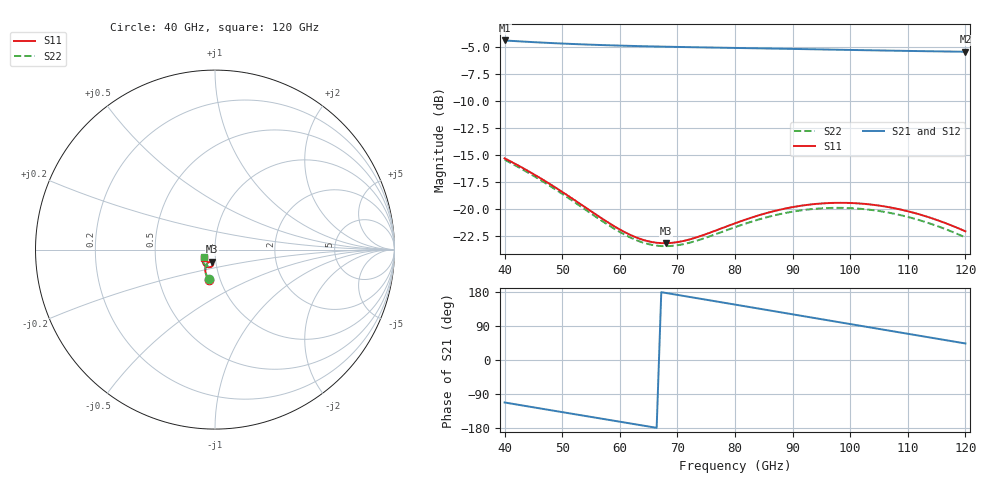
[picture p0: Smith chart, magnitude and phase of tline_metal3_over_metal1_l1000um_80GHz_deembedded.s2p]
! Created with skrf 2.0.1 (http://scikit-rf.org).
# GHz S DB R 50.0
!freq dBS11 angS11 dBS21 angS21 dBS12 angS12 dBS22 angS22
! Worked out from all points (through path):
!   101 points, 40 GHz to 120 GHz, reference 50 ohm
!   highest |S21| = -4.39 dB at 40 GHz (marker M1); lowest = -5.4 dB at 120 GHz (marker M2)
!   group delay of S21, straight-line fit = 7.1 ps
!   lowest |S11| = -23.2 dB at 68 GHz (marker M3), VSWR 1.15, Z = 47.8 - j6.44 ohm
!   |S11| at or under -10 dB: start of sweep to end of sweep
!   |S22| runs from -23.4 to -15.4 dB; largest |S21 - S12| = 6.6e-14
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40  -15.30 -101.8  -4.39 -112.1  -4.39 -112.1  -15.43 -102.0
43.2  -16.21 -107.5  -4.49 -120.3  -4.49 -120.3  -16.36 -107.8
47.2  -17.46 -113.4  -4.60 -130.4  -4.60 -130.4  -17.63 -113.8
53.6  -19.69 -118.9  -4.75 -146.6  -4.75 -146.6  -19.89 -119.4
57.6  -21.11 -118.8  -4.82 -156.8  -4.82 -156.8  -21.33 -119.5
61.6  -22.33 -115.4  -4.89 -166.9  -4.89 -166.9  -22.57 -116.2
64.8  -22.96 -110.6  -4.93 -175.0  -4.93 -175.0  -23.22 -111.6
67.2  -23.15 -106.5  -4.96 178.9  -4.96 178.9  -23.42 -107.6
68  -23.16 -105.2  -4.97 176.9  -4.97 176.9  -23.43 -106.3
70.4  -23.02 -101.5  -4.99 170.8  -4.99 170.8  -23.31 -102.8
73.6  -22.57 -98.1  -5.02 162.6  -5.02 162.6  -22.88 -99.5
80  -21.32 -97.1  -5.08 146.2  -5.08 146.2  -21.68 -98.8
84  -20.60 -99.5  -5.11 136.0  -5.11 136.0  -20.98 -101.4
87.2  -20.13 -102.7  -5.14 127.7  -5.14 127.7  -20.54 -104.7
90.4  -19.78 -106.5  -5.17 119.5  -5.17 119.5  -20.20 -108.7
93.6  -19.55 -110.7  -5.20 111.3  -5.20 111.3  -19.99 -113.1
96.8  -19.43 -115.2  -5.23 103.1  -5.23 103.1  -19.89 -117.8
100  -19.43 -119.9  -5.26 94.9  -5.26 94.9  -19.91 -122.6
103.2  -19.56 -124.5  -5.29 86.6  -5.29 86.6  -20.05 -127.3
107.2  -19.87 -130.0  -5.33 76.4  -5.33 76.4  -20.38 -133.1
113.6  -20.75 -137.7  -5.38 60.0  -5.38 60.0  -21.29 -141.1
120  -22.05 -142.6  -5.43 43.6  -5.43 43.6  -22.62 -146.4
